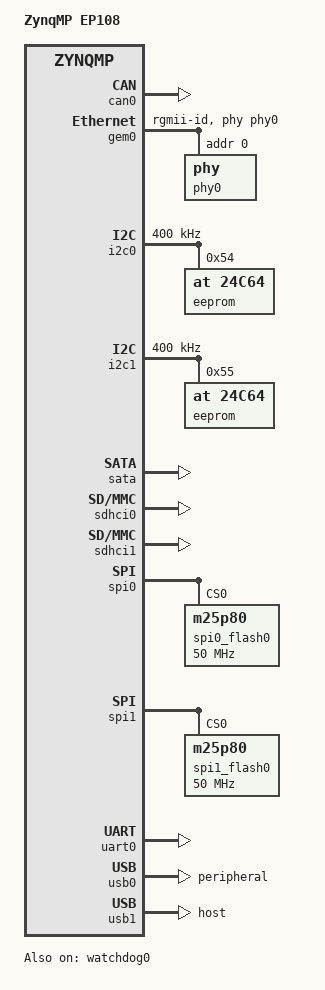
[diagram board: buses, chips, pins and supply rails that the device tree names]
/*
 * dts file for Xilinx ZynqMP ep108 development board
 *
 * (C) Copyright 2014 - 2015, Xilinx, Inc.
 *
 * Michal Simek <michal.simek@xilinx.com>
 *
 * This program is free software; you can redistribute it and/or
 * modify it under the terms of the GNU General Public License as
 * published by the Free Software Foundation; either version 2 of
 * the License, or (at your option) any later version.
 */

/dts-v1/;

/include/ "zynqmp.dtsi"

/ {
	model = "ZynqMP EP108";

	aliases {
		serial0 = &uart0;
	};

	chosen {
		stdout-path = "serial0:115200n8";
	};

	memory {
		device_type = "memory";
		reg = <0x0 0x0 0x40000000>;
	};
};

&amba {
	misc_clk: misc_clk {
		compatible = "fixed-clock";
		#clock-cells = <0>;
		clock-frequency = <25000000>;
	};

	i2c_clk: i2c_clk {
		compatible = "fixed-clock";
		#clock-cells = <0x0>;
		clock-frequency = <111111111>;
	};

	sata_clk: sata_clk {
		compatible = "fixed-clock";
		#clock-cells = <0>;
		clock-frequency = <75000000>;
	};
};

&can0 {
	status = "okay";
	clocks = <&misc_clk &misc_clk>;
};

&gem0 {
	status = "okay";
	clocks = <&misc_clk>, <&misc_clk>, <&misc_clk>;
	phy-handle = <&phy0>;
	phy-mode = "rgmii-id";
	phy0: phy@0{
		reg = <0>;
		max-speed = <100>;
	};
};

&gpio {
	status = "okay";
	clocks = <&misc_clk>;
};

&i2c0 {
	status = "okay";
	clocks = <&i2c_clk>;
	clock-frequency = <400000>;
	eeprom@54 {
		compatible = "at,24c64";
		reg = <0x54>;
	};
};

&i2c1 {
	status = "okay";
	clocks = <&i2c_clk>;
	clock-frequency = <400000>;
	eeprom@55 {
		compatible = "at,24c64";
		reg = <0x55>;
	};
};

&sata {
	status = "okay";
	clocks = <&sata_clk>;
	ceva,broken-gen2;
};

&sdhci0 {
	status = "okay";
	clocks = <&misc_clk>, <&misc_clk>;
};

&sdhci1 {
	status = "okay";
	clocks = <&misc_clk>, <&misc_clk>;
};

&spi0 {
	status = "okay";
	clocks = <&misc_clk &misc_clk>;
	num-cs = <1>;
	spi0_flash0: spi0_flash0@0 {
		compatible = "m25p80";
		#address-cells = <1>;
		#size-cells = <1>;
		spi-max-frequency = <50000000>;
		reg = <0>;

		spi0_flash0@00000000 {
			label = "spi0_flash0";
			reg = <0x0 0x100000>;
		};
	};
};

&spi1 {
	status = "okay";
	clocks = <&misc_clk &misc_clk>;
	num-cs = <1>;
	spi1_flash0: spi1_flash0@0 {
		compatible = "m25p80";
		#address-cells = <1>;
		#size-cells = <1>;
		spi-max-frequency = <50000000>;
		reg = <0>;

		spi1_flash0@00000000 {
			label = "spi1_flash0";
			reg = <0x0 0x100000>;
		};
	};
};

&uart0 {
	status = "okay";
	clocks = <&misc_clk &misc_clk>;
};

&usb0 {
	status = "okay";
	dr_mode = "peripheral";
	maximum-speed = "high-speed";
};

&usb1 {
	status = "okay";
	clocks = <&misc_clk>, <&misc_clk>;
	dr_mode = "host";
	maximum-speed = "high-speed";
};

&watchdog0 {
	status = "okay";
	clocks= <&misc_clk>;
};
